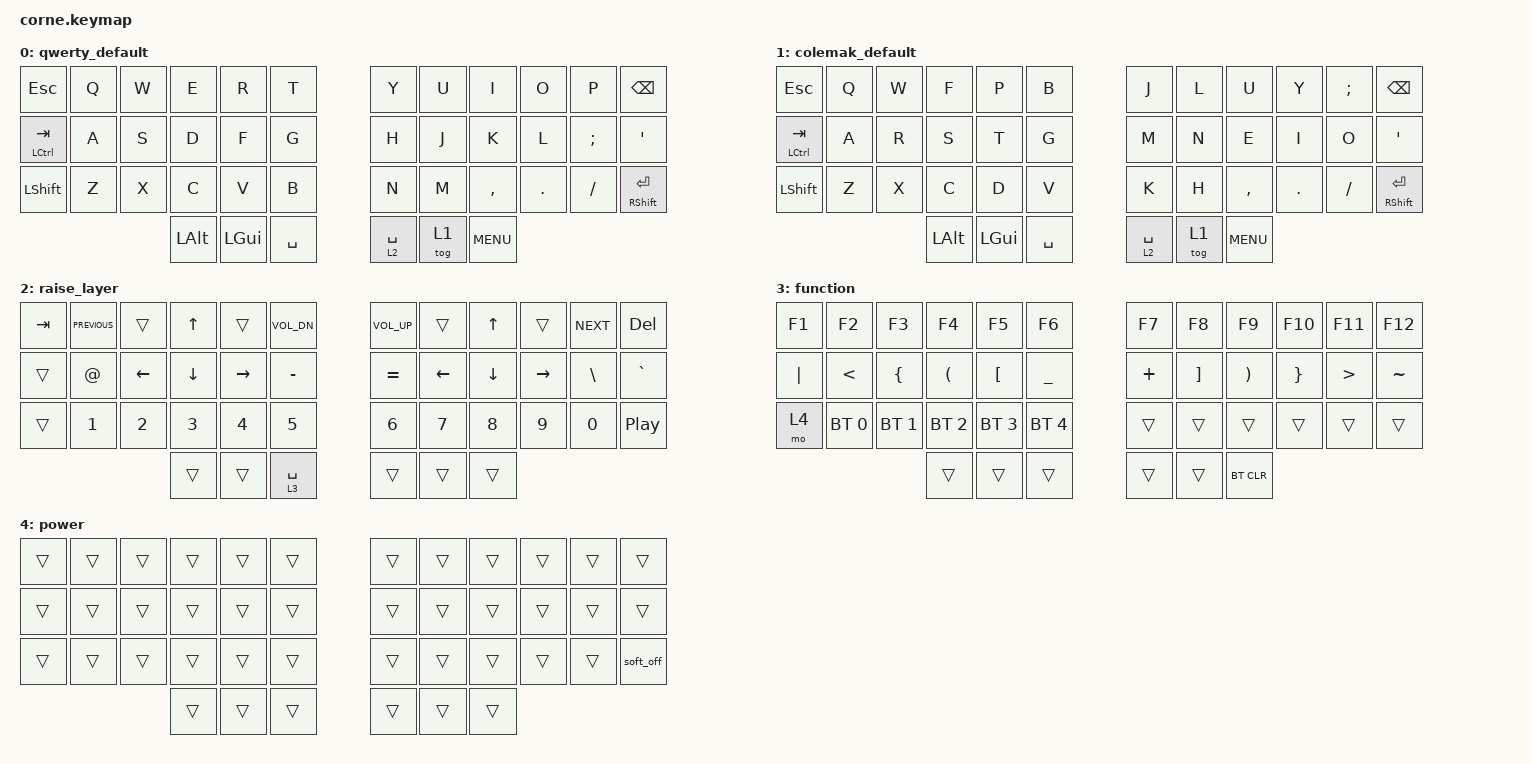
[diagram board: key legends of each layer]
/*
 * Copyright (c) 2020 The ZMK Contributors
 *
 * SPDX-License-Identifier: MIT
 */

#include <behaviors.dtsi>
#include <dt-bindings/zmk/bt.h>
#include <dt-bindings/zmk/keys.h>

/ {
    keymap {
        compatible = "zmk,keymap";

        qwerty_default {
            // -----------------------------------------------------------------------------------------
            // |  TAB |  Q  |  W  |  E  |  R  |  T  |   |  Y  |  U   |  I  |  O  |  P  | BSPC |
            // | CTRL |  A  |  S  |  D  |  F  |  G  |   |  H  |  J   |  K  |  L  |  ;  |  '   |
            // | SHFT |  Z  |  X  |  C  |  V  |  B  |   |  N  |  M   |  ,  |  .  |  /  | ESC  |
            //                    | GUI | LWR | SPC |   | ENT | RSE  | ALT |

            bindings = <
&kp ESCAPE     &kp Q  &kp W  &kp E         &kp R     &kp T        &kp Y        &kp U   &kp I       &kp O    &kp P     &kp BSPC
&mt LCTRL TAB  &kp A  &kp S  &kp D         &kp F     &kp G        &kp H        &kp J   &kp K       &kp L    &kp SEMI  &kp SQT
&kp LSHFT      &kp Z  &kp X  &kp C         &kp V     &kp B        &kp N        &kp M   &kp COMMA   &kp DOT  &kp FSLH  &mt RIGHT_SHIFT ENTER
                             &kp LEFT_ALT  &kp LGUI  &kp SPACE    &lt 2 SPACE  &tog 1  &kp C_MENU
            >;
        };

        colemak_default {
            // -----------------------------------------------------------------------------------------
            // |  TAB |  1  |  2  |  3  |  4  |  5  |   |  6  |  7  |  8  |  9  |  0  | BSPC |
            // | BTCLR| BT1 | BT2 | BT3 | BT4 | BT5 |   | LFT | DWN |  UP | RGT |     |      |
            // | SHFT |     |     |     |     |     |   |     |     |     |     |     |      |
            //                    | GUI |     | SPC |   | ENT |     | ALT |

            bindings = <
&kp ESCAPE     &kp Q  &kp W  &kp F         &kp P     &kp B        &kp J        &kp L   &kp U       &kp Y       &kp SEMICOLON  &kp BSPC
&mt LCTRL TAB  &kp A  &kp R  &kp S         &kp T     &kp G        &kp M        &kp N   &kp E       &kp I       &kp O          &kp SINGLE_QUOTE
&kp LSHFT      &kp Z  &kp X  &kp C         &kp D     &kp V        &kp K        &kp H   &kp COMMA   &kp PERIOD  &kp SLASH      &mt RIGHT_SHIFT ENTER
                             &kp LEFT_ALT  &kp LGUI  &kp SPACE    &lt 2 SPACE  &tog 1  &kp C_MENU
            >;
        };

        raise_layer {
            // -----------------------------------------------------------------------------------------
            // |  TAB |  !  |  @  |  #  |  $  |  %  |   |  ^  |  &  |  *  |  (  |  )  | BSPC |
            // | CTRL |     |     |     |     |     |   |  -  |  =  |  [  |  ]  |  \  |  `   |
            // | SHFT |     |     |     |     |     |   |  _  |  +  |  {  |  }  | "|" |  ~   |
            //                    | GUI |     | SPC |   | ENT |     | ALT |

            bindings = <
&kp TAB  &kp C_PREVIOUS  &trans          &kp UP_ARROW    &trans        &kp C_VOL_DN    &kp C_VOLUME_UP  &trans    &kp UP_ARROW  &trans     &kp C_NEXT  &kp DEL
&trans   &kp AT          &kp LEFT_ARROW  &kp DOWN_ARROW  &kp RIGHT     &kp MINUS       &kp EQUAL        &kp LEFT  &kp DOWN      &kp RIGHT  &kp BSLH    &kp GRAVE
&trans   &kp NUMBER_1    &kp NUMBER_2    &kp NUMBER_3    &kp NUMBER_4  &kp N5          &kp NUMBER_6     &kp N7    &kp N8        &kp N9     &kp N0      &kp C_PLAY_PAUSE
                                         &trans          &trans        &lt 3 SPACE     &trans           &trans    &trans
            >;
        };

        function {
            bindings = <
&kp F1    &kp F2        &kp F3        &kp F4        &kp F5        &kp F6            &kp F7    &kp F8    &kp F9      &kp F10   &kp F11  &kp F12
&kp PIPE  &kp LT        &kp LBRC      &kp LPAR      &kp LBKT      &kp UNDERSCORE    &kp PLUS  &kp RBKT  &kp RPAR    &kp RBRC  &kp GT   &kp TILDE
&mo 4     &bt BT_SEL 0  &bt BT_SEL 1  &bt BT_SEL 2  &bt BT_SEL 3  &bt BT_SEL 4      &trans    &trans    &trans      &trans    &trans   &trans
                                      &trans        &trans        &trans            &trans    &trans    &bt BT_CLR
            >;
        };

        power {
            bindings = <
&trans  &trans  &trans  &trans  &trans  &trans    &trans  &trans  &trans  &trans  &trans  &trans
&trans  &trans  &trans  &trans  &trans  &trans    &trans  &trans  &trans  &trans  &trans  &trans
&trans  &trans  &trans  &trans  &trans  &trans    &trans  &trans  &trans  &trans  &trans  &soft_off
                        &trans  &trans  &trans    &trans  &trans  &trans
            >;
        };
    };
};
